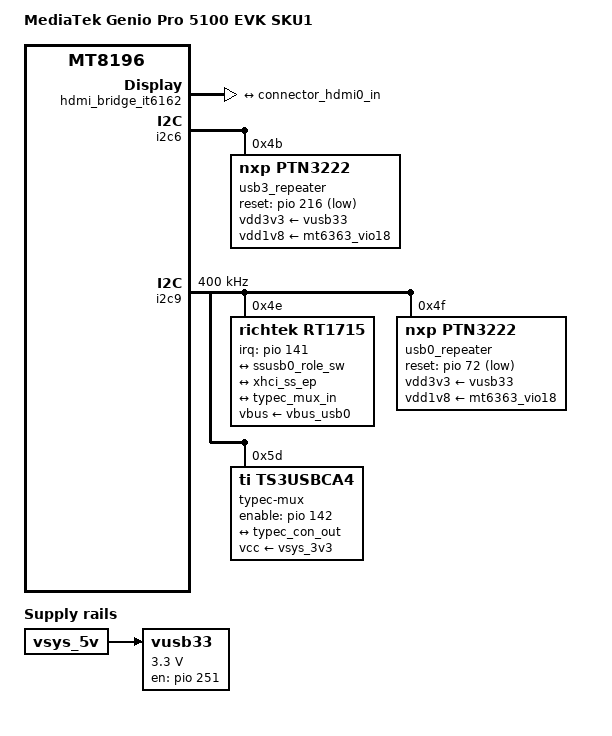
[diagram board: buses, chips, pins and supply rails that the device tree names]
// SPDX-License-Identifier: GPL-2.0 OR MIT
/*
 * Copyright (C) 2026 Collabora Ltd.
 * Author: Arnaud Ferraris <arnaud.ferraris@collabora.com>
 */

/dts-v1/;

#include "mt8894-genio-pro-5100-evk-common.dtsi"
#include <dt-bindings/usb/pd.h>

/ {
	model = "MediaTek Genio Pro 5100 EVK SKU1";
	compatible = "mediatek,mt8894-evk-sku1", "mediatek,mt8894",
		     "mediatek,mt8196";

	/* separately switched 3.3V power rail */
	vusb33: regulator-vusb33 {
		compatible = "regulator-fixed";
		regulator-name = "vusb33";
		regulator-min-microvolt = <3300000>;
		regulator-max-microvolt = <3300000>;
		enable-active-high;
		gpio = <&pio 251 GPIO_ACTIVE_HIGH>;
		pinctrl-names = "default";
		pinctrl-0 = <&usb_vusb33_pins>;
		vin-supply = <&vsys_5v>;
	};
};

&connector_hdmi0_in {
	remote-endpoint = <&it6162_out>;
};

&eth_phy0 {
	/*
	 * Board-specific hack, needed due to a schematics error
	 * (AVDD10 supplies of both Ethernet PHYs are connected
	 * even though they shouldn't)
	 */
	phy-supply = <&veth_3v3>;
};

&hdmi_bridge_it6162 {
	ports {
		#address-cells = <1>;
		#size-cells = <0>;

		port@1 {
			reg = <1>;
			it6162_in: endpoint {
				/* remote-endpoint = <&dsi0_out>; */
			};
		};

		port@2 {
			reg = <2>;
			it6162_out: endpoint {
				remote-endpoint = <&connector_hdmi0_in>;
			};
		};
	};
};

&hdmi_bridge_pins {
	/*
	 * GPIO136 has no EINT so, unfortunately, this cannot be used as the
	 * HPD interrupt... Park it in GPIO mode to reduce power leakage.
	 */
	pins-int {
		pinmux = <PINMUX_GPIO136__FUNC_GPIO136>;
		input-enable;
		bias-disable;
	};
};

&i2c6 {
	usb3_repeater: repeater@4b {
		compatible = "nxp,ptn3222";
		reg = <0x4b>;
		#phy-cells = <0>;
		reset-gpios = <&pio 216 GPIO_ACTIVE_LOW>;
		pinctrl-names = "default";
		pinctrl-0 = <&usb3_repeater_pins>;
		vdd3v3-supply = <&vusb33>;
		vdd1v8-supply = <&mt6363_vio18>;
	};
};

&i2c9 {
	clock-frequency = <400000>;
	pinctrl-names = "default";
	pinctrl-0 = <&i2c9_pins>;
	status = "okay";

	/* Richtek RT1715 USB Type-C PD controller */
	rt1715: typec@4e {
		compatible = "richtek,rt1715";
		reg = <0x4e>;
		interrupts-extended = <&pio 141 IRQ_TYPE_LEVEL_LOW>;
		pinctrl-names = "default";
		pinctrl-0 = <&rt1715_pins>;
		vbus-supply = <&vbus_usb0>;
		wakeup-source;

		connector {
			compatible = "usb-c-connector";
			label = "USB-C";
			data-role = "dual";
			power-role = "source";
			pd-revision = /bits/ 8 <0x03 0x00 0x01 0x08>;
			source-pdos = <PDO_FIXED(5000, 2000, PDO_FIXED_USB_COMM | PDO_FIXED_DATA_SWAP)>;

			altmodes {
				displayport {
					svid = /bits/ 16 <0xff01>;
					vdo = <0x001c1c47>;
				};
			};

			ports {
				#address-cells = <1>;
				#size-cells = <0>;

				port@0 {
					reg = <0>;
					typec_con_hs: endpoint {
						remote-endpoint = <&ssusb0_role_sw>;
					};
				};

				port@1 {
					reg = <1>;
					typec_con_ss: endpoint {
						remote-endpoint = <&xhci_ss_ep>;
					};
				};

				port@2 {
					reg = <2>;
					typec_con_out: endpoint {
						remote-endpoint = <&typec_mux_in>;
					};
				};
			};
		};
	};

	usb0_repeater: repeater@4f {
		compatible = "nxp,ptn3222";
		reg = <0x4f>;
		#phy-cells = <0>;
		reset-gpios = <&pio 72 GPIO_ACTIVE_LOW>;
		pinctrl-names = "default";
		pinctrl-0 = <&usb0_repeater_pins>;
		vdd3v3-supply = <&vusb33>;
		vdd1v8-supply = <&mt6363_vio18>;
	};

	/*
	 * U5703: TI TS3USBCA410IRSVT USB 3.0/DP SBU orientation switch.
	 * Controls SBU1/SBU2 and DP_AUX lane routing based on plug orientation.
	 * LnA is connected to DP_AUXP/DP_AUXN from the SoC.
	 */
	typec-mux@5d {
		compatible = "ti,ts3usbca4";
		reg = <0x5d>;

		mode-switch;
		orientation-switch;

		enable-gpios = <&pio 142 GPIO_ACTIVE_HIGH>;
		vcc-supply = <&vsys_3v3>;
		pinctrl-names = "default";
		pinctrl-0 = <&typec_mux_pins>;

		port {
			typec_mux_in: endpoint {
				remote-endpoint = <&typec_con_out>;
			};
		};
	};
};

&pio {
	i2c9_pins: i2c9-pins {
		pins-bus {
			pinmux = <PINMUX_GPIO202__FUNC_SCL9>,
				 <PINMUX_GPIO203__FUNC_SDA9>;
			bias-disable;
			drive-strength = <4>;
		};
	};

	fan_tach_pins: fan-tach-pins {
		tach-pins {
			pinmux = <PINMUX_GPIO35__FUNC_GPIO35>;
			bias-pull-up;
			input-enable;
		};
	};

	usb_vusb33_pins: usb-vusb33-default {
		pins-regulator {
			pinmux = <PINMUX_GPIO251__FUNC_GPIO251>;
			output-high;
		};
	};

	vio18_lcm1_pins: vio18-lcm1-default {
		pins-regulator {
			pinmux = <PINMUX_GPIO93__FUNC_GPIO93>;
			bias-pull-up;
			drive-strength = <8>;
			output-high;
		};
	};

	vio33_tp1_lcm1_pins: vio33-tp1-lcm1-default {
		pins-regulator {
			pinmux = <PINMUX_GPIO92__FUNC_GPIO92>;
			bias-pull-up;
			drive-strength = <8>;
			output-high;
		};
	};

	vsys_lcm1_pins: vsys-lcm1-default {
		pins-regulator {
			pinmux = <PINMUX_GPIO91__FUNC_GPIO91>;
			bias-pull-up;
			drive-strength = <8>;
			output-high;
		};
	};
};

&soc_fan {
	pinctrl-names = "default";
	pinctrl-0 = <&fan_tach_pins>;
	interrupts-extended = <&pio 35 IRQ_TYPE_EDGE_RISING>;
};


&usb1_repeater {
	vdd3v3-supply = <&vusb33>;
};

&usb2_repeater {
	vdd3v3-supply = <&vusb33>;
};

&vio18_lcm1 {
	gpio = <&pio 93 GPIO_ACTIVE_HIGH>;
	pinctrl-names = "default";
	pinctrl-0 = <&vio18_lcm1_pins>;
};

&vio33_tp1_lcm1 {
	gpio = <&pio 92 GPIO_ACTIVE_HIGH>;
	pinctrl-names = "default";
	pinctrl-0 = <&vio33_tp1_lcm1_pins>;
};

&vsys_lcm1 {
	gpio = <&pio 91 GPIO_ACTIVE_HIGH>;
	pinctrl-names = "default";
	pinctrl-0 = <&vsys_lcm1_pins>;
};

&vvideo_5v_pins {
	pins-regulator {
		pinmux = <PINMUX_GPIO36__FUNC_GPIO36>;
		bias-pull-up;
	};
};

&vvideo_5v {
	gpio = <&pio 36 GPIO_ACTIVE_HIGH>;
};
